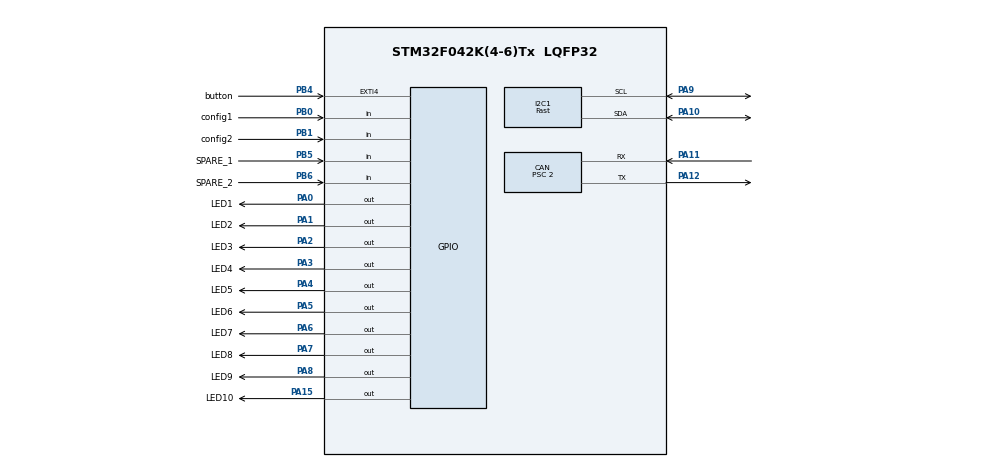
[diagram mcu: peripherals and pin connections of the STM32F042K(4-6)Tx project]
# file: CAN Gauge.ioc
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CAN.BS1=CAN_BS1_3TQ
CAN.BS2=CAN_BS2_4TQ
CAN.CalculateBaudRate=500000
CAN.CalculateTimeBit=2000.00
CAN.CalculateTimeQuantum=250.0
CAN.Prescaler=2
I2C1.I2C_Speed_Mode=I2C_Fast
I2C1.Timing=0x0000020B
Mcu.Family=STM32F0
Mcu.Name=STM32F042K(4-6)Tx
Mcu.Package=LQFP32
NVIC.CEC_CAN_IRQn=true\:0\:0\:false\:false\:true\:true\:true
NVIC.EXTI4_15_IRQn=true\:0\:0\:false\:false\:true\:true\:true
PA0.GPIO_Label=LED1
PA0.GPIO_PuPd=GPIO_PULLUP
PA0.Signal=GPIO_Output
PA1.GPIO_Label=LED2
PA1.GPIO_PuPd=GPIO_PULLUP
PA1.Signal=GPIO_Output
PA10.Mode=I2C
PA10.Signal=I2C1_SDA
PA11.Mode=CAN_Activate
PA11.Signal=CAN_RX
PA12.Mode=CAN_Activate
PA12.Signal=CAN_TX
PA13.GPIO_Label=SWDIO
PA13.Mode=Serial_Wire
PA13.Signal=SYS_SWDIO
PA14.GPIO_Label=SWCLK
PA14.Mode=Serial_Wire
PA14.Signal=SYS_SWCLK
PA15.GPIO_Label=LED10
PA15.Signal=GPIO_Output
PA2.GPIO_Label=LED3
PA2.GPIO_PuPd=GPIO_PULLUP
PA2.Signal=GPIO_Output
PA3.GPIO_Label=LED4
PA3.GPIO_PuPd=GPIO_PULLUP
PA3.Signal=GPIO_Output
PA4.GPIO_Label=LED5
PA4.GPIO_PuPd=GPIO_PULLUP
PA4.Signal=GPIO_Output
PA5.GPIO_Label=LED6
PA5.GPIO_PuPd=GPIO_PULLUP
PA5.Signal=GPIO_Output
PA6.GPIO_Label=LED7
PA6.GPIO_PuPd=GPIO_PULLUP
PA6.Signal=GPIO_Output
PA7.GPIO_Label=LED8
PA7.GPIO_PuPd=GPIO_PULLUP
PA7.Signal=GPIO_Output
PA8.GPIO_Label=LED9
PA8.GPIO_PuPd=GPIO_PULLUP
PA8.Signal=GPIO_Output
PA9.Mode=I2C
PA9.Signal=I2C1_SCL
PB0.GPIO_Label=config1
PB0.GPIO_PuPd=GPIO_PULLUP
PB0.Signal=GPIO_Input
PB1.GPIO_Label=config2
PB1.GPIO_PuPd=GPIO_PULLUP
PB1.Signal=GPIO_Input
PB4.GPIO_Label=button
PB4.GPIO_ModeDefaultEXTI=GPIO_MODE_IT_FALLING
PB4.GPIO_PuPd=GPIO_PULLUP
PB4.Signal=GPXTI4
PB5.GPIO_Label=SPARE_1
PB5.Signal=GPIO_Input
PB6.GPIO_Label=SPARE_2
PB6.Signal=GPIO_Input
PF0-OSC_IN.GPIO_Label=MCO
PF0-OSC_IN.Mode=HSE-External-Clock-Source
PF0-OSC_IN.Signal=RCC_OSC_IN
ProjectManager.HeapSize=0x200
ProjectManager.StackSize=0x400
ProjectManager.TargetToolchain=STM32CubeIDE
board=NUCLEO-F042K6

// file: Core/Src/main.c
/* USER CODE BEGIN Header */
/**
  ******************************************************************************
  * @file           : main.c
  * @brief          : Main program body
  ******************************************************************************
  * @attention
  *
  * <h2><center>&copy; Copyright (c) 2021 STMicroelectronics.
  * All rights reserved.</center></h2>
  *
  * This software component is licensed by ST under BSD 3-Clause license,
  * the "License"; You may not use this file except in compliance with the
  * License. You may obtain a copy of the License at:
  *                        opensource.org/licenses/BSD-3-Clause
  *
  *
  ******************************************************************************
  */
/* USER CODE END Header */
#include "main.h"

/* USER CODE BEGIN Includes */
#include "ssd1306.h"
#include <stdbool.h>
#include <stdio.h>
/* USER CODE END Includes */

CAN_HandleTypeDef hcan;
I2C_HandleTypeDef hi2c1;

/* USER CODE BEGIN PV */

CAN_RxHeaderTypeDef rxHeader; 			//CAN Bus receive header
uint8_t canRX[8] = {0,0,0,0,0,0,0,0};  	//CAN Bus Receive Buffer
CAN_FilterTypeDef canfilter; 			//CAN Bus Filter

/* Define -------------------------------------------------------------*/
#define startupInfo
#define CANtimeout
#define LEDstartup
#define OLEDstartup
//#define DEBUG

/* Configuration Variables -------------------------------------------------------------*/

//Displays on startup screen
int buildDate = 220409;

// CAN
const int baseCANid = 512;
const int tempOffset = 40;

//Gauges, adjust for total # and desired starting gauge
int currentGauge = 0;
int totalNumGauge = 8;

// Time out for CAN
int canWaitTime = 2000;

// Startup initialization stuff
int startupDelay = 100;
int OLEDreinit = 10;

// User button
int currentMs = 0;
int lastMs = 0;
int btnDebounce = 250;
int btnPress = 0;

/* CAN Data -------------------------------------------------------------*/

// Format for data
// multi     -  Scaling Multiplier
// div  	 - 	Scaling Divider
// max		 -	Maximum value for LEDs
// min		 - 	value for LEDs
// ID		 -  Selects filter ID, adder from base ID
// dec       -  Use decimals? 0 for no

struct rxData{

	float multi, div, max, min;
	int ID;
	int dec;
	float scaled;
	int val;
};

// 0
int warningCount = 0;
int lastError = 0;
int revLimit = 0;
int mainRelay = 0;
int fuelPump = 0;
int CEL = 0;
int egoHeater = 0;

//[Multiplier] [Divider] [max] [min] [ID] [Decimal]

// 1					{multi	div	 	max		min		ID	  dec}
struct rxData rpm = 	{1,		1,		7000,	50,		1,		0};
struct rxData vss = 	{1,		1,		1,		180,	1,		0};
struct rxData mph = 	{62,	100,	1,		180,	1,		0};
struct rxData timing =  {1,		1,		50,		-50,	1,		0};
struct rxData injDuty = {1,		1,		100,	0,		1,		0};

// 2					{multi	div	 	max		min		ID	  dec}
struct rxData accel = 	{1,		1,		100,	0,		2,		0};
struct rxData tps1 = 	{1,		1,		100,	0,		2,		0};
struct rxData tps2 = 	{1,		1,		100,	0,		2,		0};

// 3					{multi	div		max		min		ID		dec
struct rxData map = 	{1,		30,		120,	0,		3, 		1};
struct rxData clt = 	{1,		1,		200,	0,		3,		0};
struct rxData iat = 	{1,		1,		100,	0,		3,		0};
struct rxData auxT1 = 	{1,		1,		250,	0,		3,		0};
struct rxData auxT2 = 	{1,		1,		250,	0,		3,		0};
struct rxData mcuT = 	{1,		1,		250,	0,		3,		0};
struct rxData fuel = 	{1,		1,		100,	0,		3,		0};

// 4					{multi	div		max		min		ID		dec
struct rxData afr = 	{1,		100,	18,		8,		4,		1};
struct rxData oilPress= {1,		10,		100,	0,		4,		0};
struct rxData vvtPos = 	{1,		1,		50,		-50,	4,		0};
struct rxData battery = {1,		1000,	15,		5,		4,		1};

// 5						{multi	div		max		min		ID		Dec
struct rxData cylAirMass =	{1,		1,		100,	0,		5,		0};
struct rxData estAir =		{1,		10,		100,	0,		5,		0};
struct rxData injPW = 		{1,		10,		100,	0,		5,		0};

/* Misc Variables -------------------------------------------------------------*/

// CAN IDs for Filters
const int filterID[] = {(baseCANid), (baseCANid +1), (baseCANid +2), (baseCANid +3), (baseCANid +4), (baseCANid +5)};
int currentFilter = 4;
int rxID;
int msgRXstatus = 0;
char buff[16];
int p;
int lastCanMessage = 0;
int config = 0;

/* USER CODE END PV */

void SystemClock_Config(void);
static void MX_GPIO_Init(void);
static void MX_I2C1_Init(void);
static void MX_CAN_Init(void);

	/* USER CODE BEGIN 0 */

void HAL_CAN_RxFifo0MsgPendingCallback(CAN_HandleTypeDef *hcan1){
	// Receive CAN message interrupt
	HAL_CAN_GetRxMessage(hcan1, CAN_RX_FIFO0, &rxHeader, canRX);
	HAL_GPIO_TogglePin(GPIOB, GPIO_PIN_3);
	msgRXstatus = 1;
	rxID = rxHeader.StdId;
}

void checkConfig(){

	if (HAL_GPIO_ReadPin(GPIOB, config1_Pin) == 0){
		config++;
	}
	if (HAL_GPIO_ReadPin(GPIOB, config2_Pin) == 0){
		config++;
		config++;

	}
}

void EXTI4_15_IRQHandler(){
	// Push button interrupt
	currentMs = HAL_GetTick();
	 if ((currentMs - lastMs > btnDebounce))
	  {
	    lastMs = currentMs;
	    btnPress=1;
	  }
	 HAL_GPIO_EXTI_IRQHandler(GPIO_PIN_4);
}

void canFilterInit(int hiID, int loID){
  	canfilter.FilterBank = 0;
  	canfilter.FilterMode = CAN_FILTERMODE_IDLIST;
  	canfilter.FilterFIFOAssignment = CAN_RX_FIFO0;
  	canfilter.FilterIdHigh = hiID<<5;
  	canfilter.FilterIdLow = loID<<5;
  	canfilter.FilterMaskIdHigh = 0;
  	canfilter.FilterMaskIdLow = 0;
  	canfilter.FilterScale = CAN_FILTERSCALE_32BIT;
  	canfilter.FilterActivation = ENABLE;
  	canfilter.SlaveStartFilterBank = 1;
  	HAL_CAN_ConfigFilter(&hcan,&canfilter);
}

int byte2Data(int b1, int b2){
	// combine two bytes into a single value
	uint32_t sensorVal = (canRX[b1] << 8)|(canRX[b2]);
	return sensorVal;
}

void scaleData(struct rxData* data){
	float scaled =  (data->val * (data->multi/data->div));
	data->scaled = scaled;

}

void getData(){

	switch(rxID){

	case 512 :
		// counts or enabled status
		warningCount = byte2Data(1,0);
		lastError = byte2Data(3,2);
		revLimit = (canRX[4]) & 1;
		mainRelay = (canRX[4]) & (1<<1);
		fuelPump = (canRX[4]) & (1<<2);
		CEL = (canRX[4]) & (1<<3);
		egoHeater = (canRX[4]) & (1<<4);
		break;

	case 513 :
		rpm.val = byte2Data(1,0);		//RPM
		timing.val = byte2Data(3,2);	//Timing deg
		injDuty.val = byte2Data(5,4);	//Injector Duty %
		injDuty.val = injDuty.val;
		vss.val = canRX[6];				//Vehicle Speed kph
		mph.val = vss.val;
		break;

	case 514 :
		accel.val = byte2Data(1,0);		//Accelerator Position
		tps1.val = byte2Data(3,2);		//TPS 1 Position
		tps2.val = byte2Data(5,4);		//TPS 1 Position
		break;

	case 515 :
		map.val = byte2Data(1,0);			//MAP kPa
		clt.val = canRX[2] - tempOffset; 	//Coolant Temp C
		iat.val = canRX[3] - tempOffset;	//Intake Temp C
		auxT1.val = canRX[4];				//Aux Temp 1 C
		auxT2.val = canRX[5];				//Aux Temp 2 C
		//mcuT.val = canRX[6];				//MCU Temp C
		fuel.val = canRX[7];				//Fuel Level %
		break;

	case 516 :
		afr.val = byte2Data(1,0);		//AFR
		afr.val = afr.val/10;

		oilPress.val = byte2Data(3,2);	//Oil Pressure kPa

		vvtPos.val = byte2Data(5,4);	//VVT Position deg

		battery.val = byte2Data(7,6);	//Battery mV
		break;

	case 517 :
		cylAirMass.val = byte2Data(1,0);	//Cylinder Air Mass mg

		estAir.val = byte2Data(3,2);		//Estimated Air Flow kg/h

		injPW.val = byte2Data(5,4);			//Injector Pulse Width ms

		break;

	}
}

void printText( char* text, int X, int Y){

	// Set cursor and print 11x18 text
	ssd1306_SetCursor(X, Y);
	ssd1306_WriteString(text, Font_11x18, White);

}

void printTextLarge( char* text, int X, int Y){
	// Set cursor and print 16x26 text
	ssd1306_SetCursor(X, Y);
	ssd1306_WriteString(text, Font_16x26, White);

}

void printDataDigitalLarge(struct rxData * data, int X, int Y){

	// Set cursor x/y location and print the selected data
	// If decimal value is 0 it will not be printed
	// This will print the maximum stored value
	ssd1306_SetCursor(X, Y);

	int A = data->scaled;
	int B = (data->scaled - A) * 100;

	if ((data->dec == 0)) {
		snprintf(buff, sizeof(buff), "%d", A);

	}
	else{
		if (B < 10){
			snprintf(buff, sizeof(buff), "%d.0%d", A, B);
		}
		else{
		snprintf(buff, sizeof(buff), "%d.%d", A, B);
		}
	}

	ssd1306_WriteString(buff, Font_16x26, White);

}

void printValue(int data, int X, int Y){
	ssd1306_SetCursor(X, Y);
	snprintf(buff, sizeof(buff), "%d", data);
			ssd1306_WriteString(buff, Font_11x18, White);
}

int getPercent(struct rxData *data){
	// This returns a percentage of the current value vs the set limits for the data

	// Offset current and max values by min, then divide by the max to get the percentage
	int p = ((data->val-(data->min*data->div/data->multi))*100);
	p = p / ((data->max - data->min)*data->div/data->multi);

	// Limit percentage to 0 -> 100
	if (p > 100){
		p = 100;
	}
	if (p < 0){
		p = 0;
	}

	return p;
}

void printStartup(){

#ifdef startupInfo
	ssd1306_Fill(Black);
	printValue(buildDate,5,05);
	printValue(config,100,05);
	printText("CAN 500k",5,25);
	printText("ID 512",5,45);
	ssd1306_UpdateScreen();

#else

	ssd1306_Fill(Black);
	printText("Waiting",5,05);
	ssd1306_UpdateScreen();

#endif

}

void LEDprogress(int l){

	// Set all LED outputs off
				HAL_GPIO_WritePin(GPIOA, LED1_Pin|LED2_Pin|LED3_Pin|LED4_Pin|LED5_Pin|LED6_Pin|LED7_Pin|LED8_Pin|LED9_Pin|LED10_Pin, GPIO_PIN_RESET);

	// Set 1 - 10 LEDs on
	switch(l){

	case 0 :
		 HAL_GPIO_WritePin(GPIOA, LED1_Pin|LED2_Pin|LED3_Pin|LED4_Pin|LED5_Pin|LED6_Pin|LED7_Pin|LED8_Pin|LED9_Pin|LED10_Pin, GPIO_PIN_RESET);
		 break;

	case 1 :
	 	 HAL_GPIO_WritePin(GPIOA, LED1_Pin, GPIO_PIN_SET);
		 break;

	case 2 :
	 	 HAL_GPIO_WritePin(GPIOA, LED1_Pin|LED2_Pin, GPIO_PIN_SET);
		 break;

	case 3 :
		HAL_GPIO_WritePin(GPIOA, LED1_Pin|LED2_Pin|LED3_Pin, GPIO_PIN_SET);
		break;

	case 4 :
		HAL_GPIO_WritePin(GPIOA, LED1_Pin|LED2_Pin|LED3_Pin|LED4_Pin, GPIO_PIN_SET);
		break;

	case 5 :
		HAL_GPIO_WritePin(GPIOA, LED1_Pin|LED2_Pin|LED3_Pin|LED4_Pin|LED5_Pin, GPIO_PIN_SET);
		break;

	case 6 :
		HAL_GPIO_WritePin(GPIOA, LED1_Pin|LED2_Pin|LED3_Pin|LED4_Pin|LED5_Pin|LED6_Pin, GPIO_PIN_SET);
		break;

	case 7 :
		HAL_GPIO_WritePin(GPIOA, LED1_Pin|LED2_Pin|LED3_Pin|LED4_Pin|LED5_Pin|LED6_Pin|LED7_Pin, GPIO_PIN_SET);
		break;

	case 8 :
		HAL_GPIO_WritePin(GPIOA, LED1_Pin|LED2_Pin|LED3_Pin|LED4_Pin|LED5_Pin|LED6_Pin|LED7_Pin|LED8_Pin, GPIO_PIN_SET);
		break;

	case 9 :
	 	 HAL_GPIO_WritePin(GPIOA, LED1_Pin|LED2_Pin|LED3_Pin|LED4_Pin|LED5_Pin|LED6_Pin|LED7_Pin|LED8_Pin|LED9_Pin, GPIO_PIN_SET);
	 	 break;

	case 10 :
		HAL_GPIO_WritePin(GPIOA, LED1_Pin|LED2_Pin|LED3_Pin|LED4_Pin|LED5_Pin|LED6_Pin|LED7_Pin|LED8_Pin|LED9_Pin|LED10_Pin, GPIO_PIN_SET);
	 	break;

	default:
		break;
	}

}

void LEDsingle(int l){

	// Set all LED outputs off
				HAL_GPIO_WritePin(GPIOA, LED1_Pin|LED2_Pin|LED3_Pin|LED4_Pin|LED5_Pin|LED6_Pin|LED7_Pin|LED8_Pin|LED9_Pin|LED10_Pin, GPIO_PIN_RESET);

	// Set single LED 1-10 on
	switch(l){

	case 1:
		 HAL_GPIO_WritePin(GPIOA, LED1_Pin, GPIO_PIN_SET);
				 break;
	case 2:
		 HAL_GPIO_WritePin(GPIOA, LED2_Pin, GPIO_PIN_SET);
				 break;
	case 3:
		 HAL_GPIO_WritePin(GPIOA, LED3_Pin, GPIO_PIN_SET);
				 break;
	case 4:
		 HAL_GPIO_WritePin(GPIOA, LED4_Pin, GPIO_PIN_SET);
				 break;
	case 5:
		 HAL_GPIO_WritePin(GPIOA, LED5_Pin, GPIO_PIN_SET);
				 break;
	case 6:
		 HAL_GPIO_WritePin(GPIOA, LED6_Pin, GPIO_PIN_SET);
				 break;
	case 7:
		 HAL_GPIO_WritePin(GPIOA, LED7_Pin, GPIO_PIN_SET);
				 break;
	case 8:
		 HAL_GPIO_WritePin(GPIOA, LED8_Pin, GPIO_PIN_SET);
				 break;
	case 9:
		 HAL_GPIO_WritePin(GPIOA, LED9_Pin, GPIO_PIN_SET);
				 break;
	case 10:
		 HAL_GPIO_WritePin(GPIOA, LED10_Pin, GPIO_PIN_SET);
				 break;
	default:
		HAL_GPIO_WritePin(GPIOA, LED1_Pin|LED2_Pin|LED3_Pin|LED4_Pin|LED5_Pin|LED6_Pin|LED7_Pin|LED8_Pin|LED9_Pin|LED10_Pin, GPIO_PIN_RESET);
		break;

		}
}

void printGauge(char *t, struct rxData *data2){
//
	currentFilter = data2->ID;
	scaleData(data2);
	p = getPercent(data2);
	printText(t,5,2);
	printDataDigitalLarge(data2,5,30);
	ssd1306_UpdateScreen();

	// Set LEDs
	p = p /10;
	if (config == 1 || config == 3){
		LEDsingle(p);
	}
	else {
		LEDprogress(p);
	}
//
}

void updateGauge(int gaugePrint){

	//Setup CAN filter with address for desired data
	//Print specified data to the display

	ssd1306_Fill(Black);
	switch (gaugePrint){

	case 0 : // AFR
		printGauge("AFR",&afr);
		break;

	case 1 : // Intake Temp C
		printGauge("IAT C",&iat);
		break;

	case 2 : // clt C
		printGauge("CLT C",&clt);
		break;

	case 3 : // map kpa
		printGauge("MAP kPa",&map);
		break;

	case 4 : //Battery
		printGauge("Voltage",&battery);
		break;

	case 5 : //RPM
		printGauge("RPM",&rpm);
		break;

	case 6 : //MPH
		printGauge("Speed MPH",&mph);
		break;

	case 7 : //MPH
		printGauge("Speed KPH",&vss);
		break;

	default : // If no gauge is available move to next

		btnPress=1;
		break;

	}
}

/* USER CODE END 0 */

int main(void)
{

  /* MCU Configuration--------------------------------------------------------*/

  /* Reset of all peripherals, Initializes the Flash interface and the Systick. */

	HAL_Init();

  /* Configure the system clock */
  SystemClock_Config();
  /* USER CODE BEGIN SysInit */
  HAL_Delay(startupDelay);
  /* USER CODE END SysInit */

  /* Initialize all configured peripherals */
  MX_GPIO_Init();
  MX_I2C1_Init();
  MX_CAN_Init();
  /* USER CODE BEGIN 2 */

	// Check config jumpers
	checkConfig();

	// Initialize Display
	for (int OLEDInit = 0; OLEDInit<OLEDreinit ; OLEDInit++){
	ssd1306_Init();
	HAL_Delay(10);
	};

#ifdef OLEDstartup
	// Print startup info on OLED
	printStartup();
#endif

#ifdef LEDstartup
	// Startup test for all LEDs
	int cycle = 0;
	while (cycle  < 11){
	LEDsingle(cycle);
	cycle ++;
	HAL_Delay(50);
	}
	HAL_Delay(100);
	LEDprogress(0);
	HAL_Delay(100);
	LEDprogress(10);
	HAL_Delay(500);
	LEDprogress(0);
#endif

// Setup CAN
canFilterInit(filterID[currentFilter], filterID[currentFilter]);
HAL_CAN_Start(&hcan);
HAL_CAN_ActivateNotification(&hcan,CAN_IT_RX_FIFO0_MSG_PENDING);

  /* USER CODE END 2 */

  /* Infinite loop */
  while (1)
  {

    /* USER CODE BEGIN 3 */

	#ifdef CANtimeout
		  // If no CAN messages are received for the specified wait time alert on OLED
		 if (lastCanMessage > 0 && ((HAL_GetTick() - lastCanMessage) > canWaitTime)){
				ssd1306_Fill(Black);
				printText("Lost",5,5);
				printText("Data",5,20);
				printText("Connection",5,35);
				ssd1306_UpdateScreen();
				LEDprogress(999);
		 	 }
	#endif

	// Get data from received CAN message
	 if (msgRXstatus == 1){
		 getData();
		 msgRXstatus = 0;
		 updateGauge(currentGauge);
		 lastCanMessage = HAL_GetTick();
	 }

	 // Cycle gauges if the button was pressed
	 if (btnPress == 1){

		 // Reset button pressed status
		 btnPress = 0;

		 //Advance to next gauge, cycle back to 1st if at last
		 currentGauge++;
		 if (currentGauge > totalNumGauge){
			 currentGauge = 0;
		 }
		 updateGauge(currentGauge);
		 canFilterInit(filterID[currentFilter], filterID[currentFilter]);
	 }
  }
  /* USER CODE END 3 */
}

void SystemClock_Config(void)
{
  RCC_OscInitTypeDef RCC_OscInitStruct = {0};
  RCC_ClkInitTypeDef RCC_ClkInitStruct = {0};
  RCC_PeriphCLKInitTypeDef PeriphClkInit = {0};

  /** Initializes the RCC Oscillators according to the specified parameters
  * in the RCC_OscInitTypeDef structure.
  */
  RCC_OscInitStruct.OscillatorType = RCC_OSCILLATORTYPE_HSI;
  RCC_OscInitStruct.HSIState = RCC_HSI_ON;
  RCC_OscInitStruct.HSICalibrationValue = RCC_HSICALIBRATION_DEFAULT;
  RCC_OscInitStruct.PLL.PLLState = RCC_PLL_NONE;
  if (HAL_RCC_OscConfig(&RCC_OscInitStruct) != HAL_OK)
  {
    Error_Handler();
  }
  /** Initializes the CPU, AHB and APB buses clocks
  */
  RCC_ClkInitStruct.ClockType = RCC_CLOCKTYPE_HCLK|RCC_CLOCKTYPE_SYSCLK
                              |RCC_CLOCKTYPE_PCLK1;
  RCC_ClkInitStruct.SYSCLKSource = RCC_SYSCLKSOURCE_HSI;
  RCC_ClkInitStruct.AHBCLKDivider = RCC_SYSCLK_DIV1;
  RCC_ClkInitStruct.APB1CLKDivider = RCC_HCLK_DIV1;

  if (HAL_RCC_ClockConfig(&RCC_ClkInitStruct, FLASH_LATENCY_0) != HAL_OK)
  {
    Error_Handler();
  }
  PeriphClkInit.PeriphClockSelection = RCC_PERIPHCLK_I2C1;
  PeriphClkInit.I2c1ClockSelection = RCC_I2C1CLKSOURCE_HSI;
  if (HAL_RCCEx_PeriphCLKConfig(&PeriphClkInit) != HAL_OK)
  {
    Error_Handler();
  }
}

static void MX_CAN_Init(void)
{

  hcan.Instance = CAN;
  hcan.Init.Prescaler = 2;
  hcan.Init.Mode = CAN_MODE_NORMAL;
  hcan.Init.SyncJumpWidth = CAN_SJW_1TQ;
  hcan.Init.TimeSeg1 = CAN_BS1_3TQ;
  hcan.Init.TimeSeg2 = CAN_BS2_4TQ;
  hcan.Init.TimeTriggeredMode = DISABLE;
  hcan.Init.AutoBusOff = DISABLE;
  hcan.Init.AutoWakeUp = DISABLE;
  hcan.Init.AutoRetransmission = DISABLE;
  hcan.Init.ReceiveFifoLocked = DISABLE;
  hcan.Init.TransmitFifoPriority = DISABLE;
  if (HAL_CAN_Init(&hcan) != HAL_OK)
  {
    Error_Handler();
  }

}

static void MX_I2C1_Init(void)
{

  hi2c1.Instance = I2C1;
  hi2c1.Init.Timing = 0x0000020B;
  hi2c1.Init.OwnAddress1 = 0;
  hi2c1.Init.AddressingMode = I2C_ADDRESSINGMODE_7BIT;
  hi2c1.Init.DualAddressMode = I2C_DUALADDRESS_DISABLE;
  hi2c1.Init.OwnAddress2 = 0;
  hi2c1.Init.OwnAddress2Masks = I2C_OA2_NOMASK;
  hi2c1.Init.GeneralCallMode = I2C_GENERALCALL_DISABLE;
  hi2c1.Init.NoStretchMode = I2C_NOSTRETCH_DISABLE;
  if (HAL_I2C_Init(&hi2c1) != HAL_OK)
  {
    Error_Handler();
  }
  /** Configure Analogue filter
  */
  if (HAL_I2CEx_ConfigAnalogFilter(&hi2c1, I2C_ANALOGFILTER_ENABLE) != HAL_OK)
  {
    Error_Handler();
  }
  /** Configure Digital filter
  */
  if (HAL_I2CEx_ConfigDigitalFilter(&hi2c1, 0) != HAL_OK)
  {
    Error_Handler();
  }

}

static void MX_GPIO_Init(void)
{
  GPIO_InitTypeDef GPIO_InitStruct = {0};

  /* GPIO Ports Clock Enable */
  __HAL_RCC_GPIOF_CLK_ENABLE();
  __HAL_RCC_GPIOA_CLK_ENABLE();
  __HAL_RCC_GPIOB_CLK_ENABLE();

  /*Configure GPIO pin Output Level */
  HAL_GPIO_WritePin(GPIOA, LED1_Pin|LED2_Pin|LED3_Pin|LED4_Pin
                          |LED5_Pin|LED6_Pin|LED7_Pin|LED8_Pin
                          |LED9_Pin|LED10_Pin, GPIO_PIN_RESET);

  /*Configure GPIO pins : LED1_Pin LED2_Pin LED3_Pin LED4_Pin
                           LED5_Pin LED6_Pin LED7_Pin LED8_Pin
                           LED9_Pin */
  GPIO_InitStruct.Pin = LED1_Pin|LED2_Pin|LED3_Pin|LED4_Pin
                          |LED5_Pin|LED6_Pin|LED7_Pin|LED8_Pin
                          |LED9_Pin;
  GPIO_InitStruct.Mode = GPIO_MODE_OUTPUT_PP;
  GPIO_InitStruct.Pull = GPIO_PULLUP;
  GPIO_InitStruct.Speed = GPIO_SPEED_FREQ_LOW;
  HAL_GPIO_Init(GPIOA, &GPIO_InitStruct);

  /*Configure GPIO pins : config1_Pin config2_Pin */
  GPIO_InitStruct.Pin = config1_Pin|config2_Pin;
  GPIO_InitStruct.Mode = GPIO_MODE_INPUT;
  GPIO_InitStruct.Pull = GPIO_PULLUP;
  HAL_GPIO_Init(GPIOB, &GPIO_InitStruct);

  /*Configure GPIO pin : LED10_Pin */
  GPIO_InitStruct.Pin = LED10_Pin;
  GPIO_InitStruct.Mode = GPIO_MODE_OUTPUT_PP;
  GPIO_InitStruct.Pull = GPIO_NOPULL;
  GPIO_InitStruct.Speed = GPIO_SPEED_FREQ_LOW;
  HAL_GPIO_Init(LED10_GPIO_Port, &GPIO_InitStruct);

  /*Configure GPIO pin : button_Pin */
  GPIO_InitStruct.Pin = button_Pin;
  GPIO_InitStruct.Mode = GPIO_MODE_IT_FALLING;
  GPIO_InitStruct.Pull = GPIO_PULLUP;
  HAL_GPIO_Init(button_GPIO_Port, &GPIO_InitStruct);

  /*Configure GPIO pins : SPARE_1_Pin SPARE_2_Pin */
  GPIO_InitStruct.Pin = SPARE_1_Pin|SPARE_2_Pin;
  GPIO_InitStruct.Mode = GPIO_MODE_INPUT;
  GPIO_InitStruct.Pull = GPIO_NOPULL;
  HAL_GPIO_Init(GPIOB, &GPIO_InitStruct);

  /* EXTI interrupt init*/
  HAL_NVIC_SetPriority(EXTI4_15_IRQn, 0, 0);
  HAL_NVIC_EnableIRQ(EXTI4_15_IRQn);

}

void Error_Handler(void)
{
  __disable_irq();
  while (1)
  {
  }
}

/************************ (C) COPYRIGHT STMicroelectronics *****END OF FILE****/
